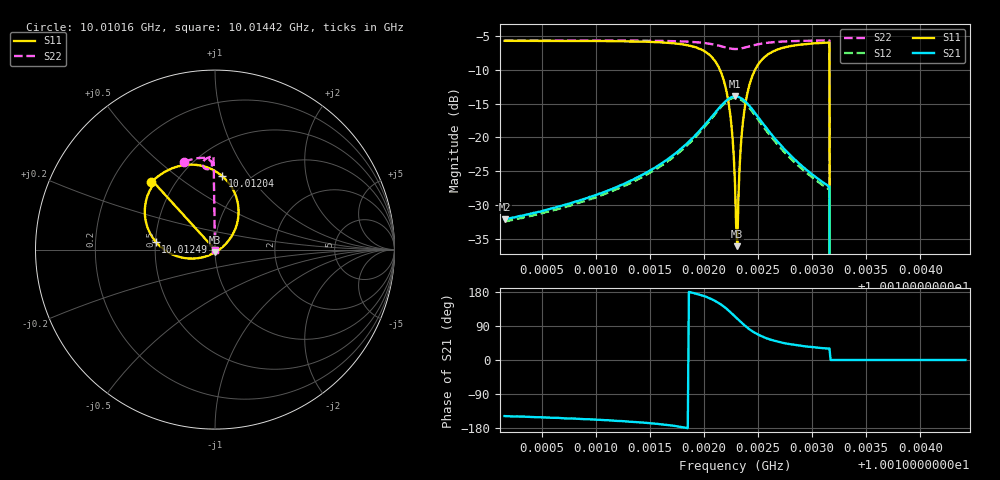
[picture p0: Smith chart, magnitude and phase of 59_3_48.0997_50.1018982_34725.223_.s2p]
#  HZ  S  RI  R  50.00
! Rohde & Schwarz Vector Network Analyzer
! Rohde-Schwarz,ZNB20-2Port,1311601062101988,3.16
! Created: UTC 12/23/2023, 3:40:34 AM
! freq[Hz]  re:S11  im:S11  re:S21  im:S21  re:S12  im:S12  re:S22  im:S22
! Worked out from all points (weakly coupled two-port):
!   401 points, 10.01016 GHz to 10.01442 GHz, reference 50 ohm
!   highest |S21| = -13.94 dB at 10.01229 GHz (marker M1); lowest = -32.1 dB at 10.01016 GHz (marker M2)
!   lowest |S11| = -36.1 dB at 10.01231 GHz (marker M3), VSWR 1.03, Z = 50 - j1.57 ohm
!   |S11| at or under -10 dB: 10.01215 GHz to 10.01247 GHz (325.8 kHz wide, 0.00325 % of centre); 10.01316 GHz to end of sweep
!   |S22| runs from - to -5.7 dB; largest |S21 - S12| = 0.0091
!   S11 on the Smith chart (normalised r, x): 10.01016 GHz: 0.37, +0.38; 10.01204 GHz: 0.76, +0.75; 10.01249 GHz: 0.50, +0.05; 10.01442 GHz: 1.00, +0.00
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1.0010159e10  -0.3558 0.3748  -0.0211 -0.0132  -0.0196 -0.0138  -0.1715 0.4899
1.0010872e10  -0.2996 0.4203  -0.0316 -0.0142  -0.0297 -0.0153  -0.1249 0.5043
1.0011585e10  -0.1892 0.4677  -0.0613 -0.012  -0.0585 -0.0146  -0.0706 0.5114
1.0011883e10  -0.0739 0.4669  -0.0966 0.00283  -0.0935 -0.00219  -0.041 0.5063
1.0012043e10  0.0385 0.4111  -0.128 0.0359  -0.1263 0.0286  -0.0231 0.493
1.001215e10  0.1189 0.2912  -0.1425 0.0888  -0.1435 0.0802  -0.0165 0.4737
1.0012213e10  0.1279 0.1676  -0.1321 0.1347  -0.1352 0.1264  -0.0212 0.4587
1.0012256e10  0.0937 0.0756  -0.1093 0.1654  -0.1129 0.1581  -0.0302 0.4507
1.0012267e10  0.0791 0.0542  -0.1014 0.1718  -0.1055 0.1643  -0.0328 0.4493
1.0012288e10  0.0432 0.0153  -0.084 0.1824  -0.0886 0.1751  -0.0391 0.4478
1.0012309e10  -9.49e-05 -0.0157  -0.0649 0.1893  -0.0696 0.1825  -0.0453 0.4476
1.001232e10  -0.0239 -0.0277  -0.0552 0.1913  -0.0599 0.1846  -0.0485 0.448
1.0012352e10  -0.0981 -0.0482  -0.026 0.1915  -0.0299 0.1851  -0.0568 0.4518
1.0012373e10  -0.1471 -0.0496  -0.00751 0.1873  -0.0118 0.1811  -0.0612 0.4557
1.0012426e10  -0.2511 -0.0203  0.0292 0.1665  0.0228 0.1613  -0.0679 0.4672
1.001249e10  -0.3313 0.0449  0.0523 0.1357  0.0463 0.1313  -0.0684 0.481
1.0012661e10  -0.3909 0.2003  0.062 0.0749  0.0568 0.0733  -0.0542 0.5035
1.0013001e10  -0.3583 0.3401  0.0442 0.0299  0.0408 0.0301  -0.0215 0.5177
1.001314e10  -0.3407 0.368  0.0382 0.0225  0.0352 0.0231  -0.00993 0.5198
1.0013193e10  0 0  0 0  0 0  0 0
1.0013714e10  0 0  0 0  0 0  0 0
1.0014417e10  0 0  0 0  0 0  0 0
